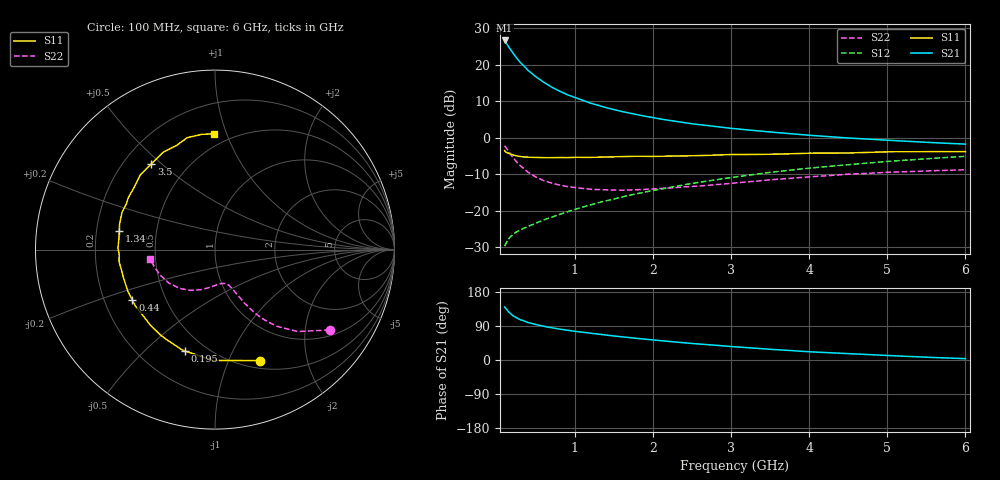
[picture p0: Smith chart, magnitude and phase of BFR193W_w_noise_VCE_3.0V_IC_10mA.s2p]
! Infineon Technologies  Discrete & RF Semiconductors
! BFR193W
! VCE =  3.0 V,  IC =  10 mA
! Common Emitter S-Parameters:  Nov 2015
# GHz  S  MA  R  50
!  f  S11  S21  S12  S22
! GHz  MAG  ANG  MAG  ANG  MAG  ANG  MAG  ANG
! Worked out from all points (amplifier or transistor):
!   192 points, 100 MHz to 6 GHz, reference 50 ohm
!   highest |S21| = 26.6 dB at 100 MHz (marker M1)
!   |S21| within 3 dB of that: start of sweep to 191.6 MHz
!   unconditionally stable (mu >= 1): 1.012 GHz to 2.553 GHz
!   at 440 MHz: K = 0.72, MSG = 20.8 dB, |S12| = -23.9 dB
!   at 1.7 GHz: K = 1.04, MAG = 10.0 dB, |S12| = -15.8 dB
!   at 6 GHz: K = 0.90, MSG = 1.7 dB, |S12| = -5.1 dB
!   lowest NFmin = 1.30 dB at 450 MHz
!   S11 on the Smith chart (normalised r, x): 100 MHz: 0.59, -1.31; 195 MHz: 0.39, -0.67; 440 MHz: 0.32, -0.25; 1.34 GHz: 0.30, +0.09; 3.5 GHz: 0.31, +0.46; 6 GHz: 0.41, +0.91
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0.1  0.667 -68.0  21.47 139.7  0.0328 60.9  0.7802 -35.0
0.15  0.6178 -91.2  17.67 127.0  0.0413 54.0  0.6484 -44.8
0.195  0.5888 -106.4  15.01 119.0  0.0463 50.8  0.5574 -50.5
0.2  0.5882 -108.1  14.74 117.9  0.0469 50.5  0.5477 -51.2
0.24  0.5696 -118.3  12.91 113.0  0.0504 49.2  0.4843 -54.5
0.26  0.5639 -122.8  12.12 110.6  0.052 48.8  0.4578 -56.0
0.3  0.5542 -130.4  10.76 106.4  0.0547 48.5  0.4147 -58.0
0.4  0.5431 -144.8  8.362 98.8  0.0612 49.5  0.3371 -61.3
0.44  0.5393 -148.6  7.738 96.9  0.0638 50.3  0.3182 -62.0
0.52  0.5366 -155.9  6.604 92.6  0.069 51.9  0.2838 -63.4
0.6  0.534 -162.1  5.753 88.9  0.0748 53.5  0.2591 -64.9
0.7  0.5334 -167.7  4.951 85.0  0.0816 55.4  0.2391 -66.0
0.9  0.5343 -177.0  3.9 78.5  0.0964 58.4  0.2146 -68.4
1.1  0.539 175.9  3.258 73.3  0.1125 60.5  0.2024 -71.8
1.34  0.5439 168.8  2.698 67.3  0.1322 62.0  0.1943 -76.2
1.6  0.5522 162.3  2.291 61.2  0.1542 62.9  0.1916 -81.2
2.08  0.558 151.5  1.82 51.4  0.1971 63.0  0.2013 -91.1
3.1  0.5894 133.2  1.314 34.1  0.2951 58.6  0.2422 -112.2
3.5  0.5943 126.7  1.199 28.2  0.3361 55.9  0.2659 -121.3
4.1  0.6145 116.4  1.063 20.8  0.3924 50.9  0.2959 -134.7
5.1  0.6423 102.5  0.913 10.8  0.482 42.3  0.339 -157.0
6  0.6452 90.4  0.818 3.6  0.5573 33.8  0.3648 -171.8
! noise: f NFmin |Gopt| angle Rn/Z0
0.45  1.3  0.22  143  0.11
0.9  1.3  0.34  160  0.11
1.8  2.05  0.54  -153  0.14
